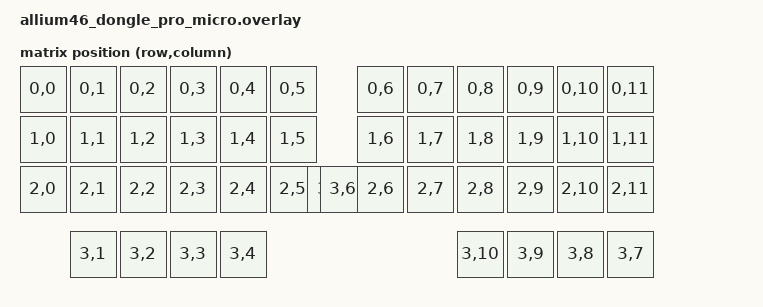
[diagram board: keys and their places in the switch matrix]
/*
 * Copyright (c) 2024
 *
 * SPDX-License-Identifier: MIT
 *
 * Allium46 dongle - nice!nano v2 (pro micro 兼容)
 * dongle 作为 split central：不接按键矩阵，通过 BLE 接收左右半按键，USB 输出。
 * 布局与 allium46.dtsi 完全一致（46 键 = Lily58 减键）。
 */

#include <dt-bindings/zmk/matrix_transform.h>
#include <physical_layouts.dtsi>

/ {
    chosen {
        zephyr,display = &oled;
        zmk,kscan = &mock_kscan;
        zmk,physical-layout = &allium46_layout;
    };

    default_transform: keymap_transform_0 {
        compatible = "zmk,matrix-transform";
        columns = <12>;
        rows = <4>;
        map = <
RC(0,0)  RC(0,1)  RC(0,2)  RC(0,3)  RC(0,4)  RC(0,5)         RC(0,6)  RC(0,7)  RC(0,8)  RC(0,9)  RC(0,10) RC(0,11)
RC(1,0)  RC(1,1)  RC(1,2)  RC(1,3)  RC(1,4)  RC(1,5)         RC(1,6)  RC(1,7)  RC(1,8)  RC(1,9)  RC(1,10) RC(1,11)
RC(2,0)  RC(2,1)  RC(2,2)  RC(2,3)  RC(2,4)  RC(2,5)  RC(3,0) RC(3,6)  RC(2,6)  RC(2,7)  RC(2,8)  RC(2,9)  RC(2,10) RC(2,11)
                           RC(3,1)  RC(3,2)  RC(3,3)  RC(3,4)  RC(3,10) RC(3,9)  RC(3,8)  RC(3,7)
        >;
    };

    mock_kscan: kscan_0 {
        compatible = "zmk,kscan-mock";
        columns = <0>;
        rows = <0>;
        events = <0>;
    };

    allium46_layout: allium46_layout {
        compatible = "zmk,physical-layout";
        display-name = "Default";
        transform = <&default_transform>;
        kscan = <&mock_kscan>;
        keys  //                     w   h    x    y     rot    rx    ry
// Row 0 (TAB, Q, W, E, R, T  |  Y, U, I, O, P, -)
            = <&key_physical_attrs 100 100    0    0       0     0     0>
            , <&key_physical_attrs 100 100  100    0       0     0     0>
            , <&key_physical_attrs 100 100  200    0       0     0     0>
            , <&key_physical_attrs 100 100  300    0       0     0     0>
            , <&key_physical_attrs 100 100  400    0       0     0     0>
            , <&key_physical_attrs 100 100  500    0       0     0     0>
            , <&key_physical_attrs 100 100  675    0       0     0     0>
            , <&key_physical_attrs 100 100  775    0       0     0     0>
            , <&key_physical_attrs 100 100  875    0       0     0     0>
            , <&key_physical_attrs 100 100  975    0       0     0     0>
            , <&key_physical_attrs 100 100 1075    0       0     0     0>
            , <&key_physical_attrs 100 100 1175    0       0     0     0>
// Row 1 (LCTRL, A, S, D, F, G  |  H, J, K, L, ;, ')
            , <&key_physical_attrs 100 100    0  100       0     0     0>
            , <&key_physical_attrs 100 100  100  100       0     0     0>
            , <&key_physical_attrs 100 100  200  100       0     0     0>
            , <&key_physical_attrs 100 100  300  100       0     0     0>
            , <&key_physical_attrs 100 100  400  100       0     0     0>
            , <&key_physical_attrs 100 100  500  100       0     0     0>
            , <&key_physical_attrs 100 100  675  100       0     0     0>
            , <&key_physical_attrs 100 100  775  100       0     0     0>
            , <&key_physical_attrs 100 100  875  100       0     0     0>
            , <&key_physical_attrs 100 100  975  100       0     0     0>
            , <&key_physical_attrs 100 100 1075  100       0     0     0>
            , <&key_physical_attrs 100 100 1175  100       0     0     0>
// Row 2 (LSHFT, Z, X, C, V, B, [, ], N, M, ,, ., /, RSHFT)
            , <&key_physical_attrs 100 100    0  200       0     0     0>
            , <&key_physical_attrs 100 100  100  200       0     0     0>
            , <&key_physical_attrs 100 100  200  200       0     0     0>
            , <&key_physical_attrs 100 100  300  200       0     0     0>
            , <&key_physical_attrs 100 100  400  200       0     0     0>
            , <&key_physical_attrs 100 100  500  200       0     0     0>
            , <&key_physical_attrs 100 100  575  200       0     0     0>
            , <&key_physical_attrs 100 100  600  200       0     0     0>
            , <&key_physical_attrs 100 100  675  200       0     0     0>
            , <&key_physical_attrs 100 100  775  200       0     0     0>
            , <&key_physical_attrs 100 100  875  200       0     0     0>
            , <&key_physical_attrs 100 100  975  200       0     0     0>
            , <&key_physical_attrs 100 100 1075  200       0     0     0>
            , <&key_physical_attrs 100 100 1175  200       0     0     0>
// Row 3 - thumb row (LALT, LGUI, LOWER, SPC  |  RET, RAISE, BSPC, RGUI)
            , <&key_physical_attrs 100 100  100  330       0     0     0>
            , <&key_physical_attrs 100 100  200  330       0     0     0>
            , <&key_physical_attrs 100 100  300  330       0     0     0>
            , <&key_physical_attrs 100 100  400  330       0     0     0>
            , <&key_physical_attrs 100 100  875  330       0     0     0>
            , <&key_physical_attrs 100 100  975  330       0     0     0>
            , <&key_physical_attrs 100 100 1075  330       0     0     0>
            , <&key_physical_attrs 100 100 1175  330       0     0     0>
            ;
    };
};

&pro_micro_i2c {
    status = "okay";

    oled: ssd1306@3c {
        compatible = "solomon,ssd1306fb";
        reg = <0x3c>;
        width = <128>;
        height = <32>;
        segment-offset = <0>;
        page-offset = <0>;
        display-offset = <0>;
        multiplex-ratio = <31>;
        segment-remap;
        com-invdir;
        com-sequential;
        inversion-on;
        prechargep = <0x22>;
    };
};
